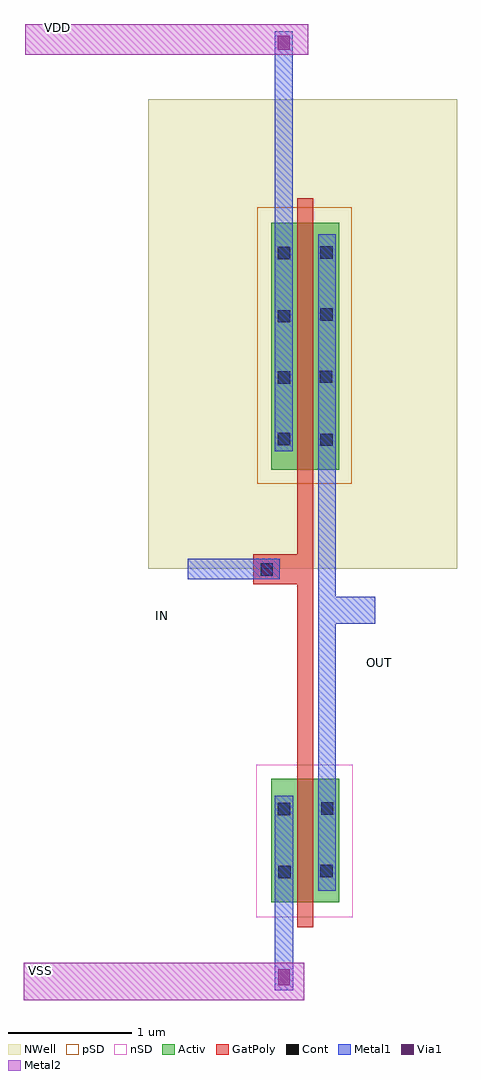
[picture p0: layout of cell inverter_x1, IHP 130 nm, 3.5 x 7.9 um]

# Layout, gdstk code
import gdstk
lib = gdstk.Library(unit=1e-6, precision=1e-09)
def R(c, l, rs):  # rectangles x0, y0, x1, y1
    for r in rs: c.add(gdstk.rectangle(r[:2], r[2:], *l))
Activ = (1, 0)
GatPoly = (5, 0)
Cont = (6, 0)
nSD = (7, 0)
Metal1 = (8, 0)
Metal2 = (10, 0)
pSD = (14, 0)
Via1 = (19, 0)
NWell = (31, 0)

inverter_x1 = lib.new_cell('inverter_x1')
R(inverter_x1, Activ, [(0,-3.5,0.55,-2.5), (0,0,0.55,2)])
R(inverter_x1, GatPoly, [(0.21,-3.7,0.34,2.2), (-0.145,-0.925,0.21,-0.68)])
R(inverter_x1, Cont, [(0.06,-3.305,0.16,-3.205), (0.4,-3.295,0.5,-3.195), (0.055,-2.795,0.155,-2.695), (0.405,-2.79,0.505,-2.69), (-0.085,-0.855,0.015,-0.755), (0.4,0.195,0.5,0.295), (0.055,0.2,0.155,0.3), (0.055,0.7,0.155,0.8), (0.395,0.705,0.495,0.805), (0.055,1.195,0.155,1.295), (0.4,1.21,0.5,1.31), (0.055,1.705,0.155,1.805), (0.4,1.71,0.5,1.81)])
R(inverter_x1, nSD, [(-0.12,-3.62,0.66,-2.385)])
R(inverter_x1, Metal1, [(0.03,-4.21,0.18,-2.635), (0.38,-3.405,0.525,1.91), (0.38,-1.245,0.845,-1.025), (-0.675,-0.885,0.07,-0.72), (0.029,0.15,0.175,3.55)])
R(inverter_x1, Metal2, [(-2,-4.29,0.27,-3.99), (-1.99,3.36,0.3,3.61)])
R(inverter_x1, pSD, [(-0.11,-0.11,0.655,2.125)])
R(inverter_x1, Via1, [(0.06,-4.17,0.15,-4.04), (0.055,3.4,0.15,3.515)])
R(inverter_x1, NWell, [(-0.995,-0.8,1.505,3)])
inverter_x1.add(gdstk.Label('VDD', (-1.725,3.585), layer=10, texttype=25))
inverter_x1.add(gdstk.Label('VSS', (-1.865,-4.05), layer=10, texttype=25))
inverter_x1.add(gdstk.Label('OUT', (0.875,-1.56), layer=8, texttype=25))
inverter_x1.add(gdstk.Label('IN', (-0.875,-1.175), layer=8, texttype=25))

lib.write_gds('inverter_x1.gds')
